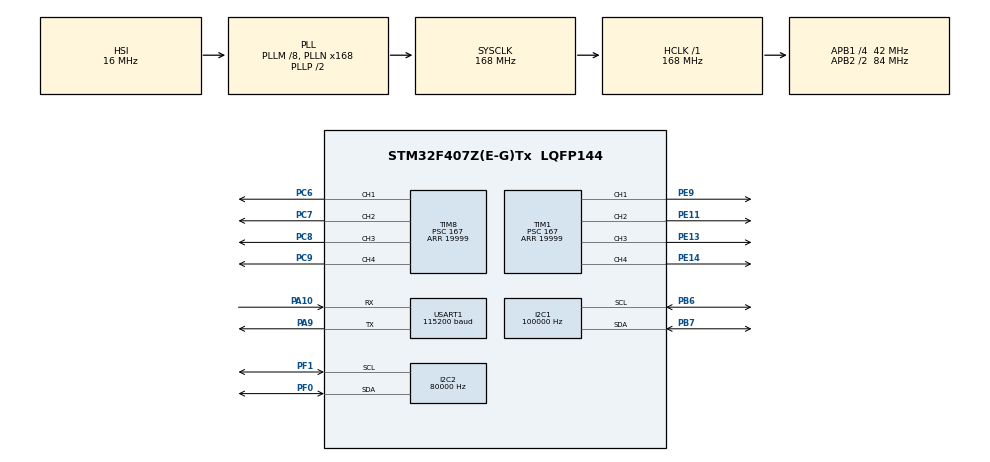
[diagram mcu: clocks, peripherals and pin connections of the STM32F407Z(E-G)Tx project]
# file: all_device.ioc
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Dma.I2C1_RX.2.Direction=DMA_PERIPH_TO_MEMORY
Dma.I2C1_RX.2.FIFOMode=DMA_FIFOMODE_DISABLE
Dma.I2C1_RX.2.Instance=DMA1_Stream0
Dma.I2C1_RX.2.MemDataAlignment=DMA_MDATAALIGN_BYTE
Dma.I2C1_RX.2.MemInc=DMA_MINC_ENABLE
Dma.I2C1_RX.2.Mode=DMA_NORMAL
Dma.I2C1_RX.2.PeriphDataAlignment=DMA_PDATAALIGN_BYTE
Dma.I2C1_RX.2.PeriphInc=DMA_PINC_DISABLE
Dma.I2C1_RX.2.Priority=DMA_PRIORITY_LOW
Dma.I2C1_TX.3.Direction=DMA_MEMORY_TO_PERIPH
Dma.I2C1_TX.3.FIFOMode=DMA_FIFOMODE_DISABLE
Dma.I2C1_TX.3.Instance=DMA1_Stream6
Dma.I2C1_TX.3.MemDataAlignment=DMA_MDATAALIGN_BYTE
Dma.I2C1_TX.3.MemInc=DMA_MINC_ENABLE
Dma.I2C1_TX.3.Mode=DMA_NORMAL
Dma.I2C1_TX.3.PeriphDataAlignment=DMA_PDATAALIGN_BYTE
Dma.I2C1_TX.3.PeriphInc=DMA_PINC_DISABLE
Dma.I2C1_TX.3.Priority=DMA_PRIORITY_LOW
Dma.I2C2_RX.4.Direction=DMA_PERIPH_TO_MEMORY
Dma.I2C2_RX.4.FIFOMode=DMA_FIFOMODE_DISABLE
Dma.I2C2_RX.4.Instance=DMA1_Stream2
Dma.I2C2_RX.4.MemDataAlignment=DMA_MDATAALIGN_BYTE
Dma.I2C2_RX.4.MemInc=DMA_MINC_ENABLE
Dma.I2C2_RX.4.Mode=DMA_NORMAL
Dma.I2C2_RX.4.PeriphDataAlignment=DMA_PDATAALIGN_BYTE
Dma.I2C2_RX.4.PeriphInc=DMA_PINC_DISABLE
Dma.I2C2_RX.4.Priority=DMA_PRIORITY_LOW
Dma.I2C2_TX.5.Direction=DMA_MEMORY_TO_PERIPH
Dma.I2C2_TX.5.FIFOMode=DMA_FIFOMODE_DISABLE
Dma.I2C2_TX.5.Instance=DMA1_Stream7
Dma.I2C2_TX.5.MemDataAlignment=DMA_MDATAALIGN_BYTE
Dma.I2C2_TX.5.MemInc=DMA_MINC_ENABLE
Dma.I2C2_TX.5.Mode=DMA_NORMAL
Dma.I2C2_TX.5.PeriphDataAlignment=DMA_PDATAALIGN_BYTE
Dma.I2C2_TX.5.PeriphInc=DMA_PINC_DISABLE
Dma.I2C2_TX.5.Priority=DMA_PRIORITY_LOW
Dma.Request0=USART1_RX
Dma.Request1=USART1_TX
Dma.Request2=I2C1_RX
Dma.Request3=I2C1_TX
Dma.Request4=I2C2_RX
Dma.Request5=I2C2_TX
Dma.USART1_RX.0.Direction=DMA_PERIPH_TO_MEMORY
Dma.USART1_RX.0.FIFOMode=DMA_FIFOMODE_DISABLE
Dma.USART1_RX.0.Instance=DMA2_Stream2
Dma.USART1_RX.0.MemDataAlignment=DMA_MDATAALIGN_BYTE
Dma.USART1_RX.0.MemInc=DMA_MINC_ENABLE
Dma.USART1_RX.0.Mode=DMA_NORMAL
Dma.USART1_RX.0.PeriphDataAlignment=DMA_PDATAALIGN_BYTE
Dma.USART1_RX.0.PeriphInc=DMA_PINC_DISABLE
Dma.USART1_RX.0.Priority=DMA_PRIORITY_LOW
Dma.USART1_TX.1.Direction=DMA_MEMORY_TO_PERIPH
Dma.USART1_TX.1.FIFOMode=DMA_FIFOMODE_DISABLE
Dma.USART1_TX.1.Instance=DMA2_Stream7
Dma.USART1_TX.1.MemDataAlignment=DMA_MDATAALIGN_BYTE
Dma.USART1_TX.1.MemInc=DMA_MINC_ENABLE
Dma.USART1_TX.1.Mode=DMA_NORMAL
Dma.USART1_TX.1.PeriphDataAlignment=DMA_PDATAALIGN_BYTE
Dma.USART1_TX.1.PeriphInc=DMA_PINC_DISABLE
Dma.USART1_TX.1.Priority=DMA_PRIORITY_LOW
I2C1.ClockSpeed=100000
I2C2.ClockSpeed=80000
Mcu.Family=STM32F4
Mcu.Name=STM32F407Z(E-G)Tx
Mcu.Package=LQFP144
NVIC.DMA1_Stream0_IRQn=true\:5\:0\:true\:false\:true\:false\:true\:true
NVIC.DMA1_Stream2_IRQn=true\:4\:0\:true\:false\:true\:false\:true\:true
NVIC.DMA1_Stream6_IRQn=true\:5\:0\:true\:false\:true\:false\:true\:true
NVIC.DMA1_Stream7_IRQn=true\:4\:0\:true\:false\:true\:false\:true\:true
NVIC.DMA2_Stream2_IRQn=true\:6\:0\:true\:false\:true\:false\:true\:true
NVIC.DMA2_Stream7_IRQn=true\:6\:0\:true\:false\:true\:false\:true\:true
NVIC.I2C1_ER_IRQn=true\:5\:0\:true\:false\:true\:true\:true\:true
NVIC.I2C1_EV_IRQn=true\:5\:0\:true\:false\:true\:true\:true\:true
NVIC.I2C2_ER_IRQn=true\:4\:0\:true\:false\:true\:true\:true\:true
NVIC.I2C2_EV_IRQn=true\:4\:0\:true\:false\:true\:true\:true\:true
NVIC.PriorityGroup=NVIC_PRIORITYGROUP_4
NVIC.USART1_IRQn=true\:6\:0\:true\:false\:true\:true\:true\:true
PA10.Mode=Asynchronous
PA10.Signal=USART1_RX
PA13.Mode=Serial_Wire
PA13.Signal=SYS_JTMS-SWDIO
PA14.Mode=Serial_Wire
PA14.Signal=SYS_JTCK-SWCLK
PA9.Mode=Asynchronous
PA9.Signal=USART1_TX
PB6.Mode=I2C
PB6.Signal=I2C1_SCL
PB7.Mode=I2C
PB7.Signal=I2C1_SDA
PC6.Signal=S_TIM8_CH1
PC7.Signal=S_TIM8_CH2
PC8.Signal=S_TIM8_CH3
PC9.Signal=S_TIM8_CH4
PE11.Signal=S_TIM1_CH2
PE13.Signal=S_TIM1_CH3
PE14.Signal=S_TIM1_CH4
PE9.Signal=S_TIM1_CH1
PF0.Mode=I2C
PF0.Signal=I2C2_SDA
PF1.Mode=I2C
PF1.Signal=I2C2_SCL
PH0-OSC_IN.Mode=HSE-External-Oscillator
PH0-OSC_IN.Signal=RCC_OSC_IN
PH1-OSC_OUT.Mode=HSE-External-Oscillator
PH1-OSC_OUT.Signal=RCC_OSC_OUT
ProjectManager.HeapSize=0x200
ProjectManager.StackSize=0x400
ProjectManager.TargetToolchain=CMake
RCC.48MHZClocksFreq_Value=84000000
RCC.AHBFreq_Value=168000000
RCC.APB1CLKDivider=RCC_HCLK_DIV4
RCC.APB1Freq_Value=42000000
RCC.APB1TimFreq_Value=84000000
RCC.APB2CLKDivider=RCC_HCLK_DIV2
RCC.APB2Freq_Value=84000000
RCC.APB2TimFreq_Value=168000000
RCC.CortexFreq_Value=168000000
RCC.HCLKFreq_Value=168000000
RCC.HSE_VALUE=25000000
RCC.HSI_VALUE=16000000
RCC.LSE_VALUE=32768
RCC.PLLM=8
RCC.PLLN=168
RCC.PLLSourceVirtual=RCC_PLLSOURCE_HSI
RCC.SYSCLKFreq_VALUE=168000000
RCC.SYSCLKSource=RCC_SYSCLKSOURCE_PLLCLK
RCC.VCOOutputFreq_Value=336000000
SH.S_TIM1_CH1.0=TIM1_CH1,PWM Generation1 CH1
SH.S_TIM1_CH2.0=TIM1_CH2,PWM Generation2 CH2
SH.S_TIM1_CH3.0=TIM1_CH3,PWM Generation3 CH3
SH.S_TIM1_CH4.0=TIM1_CH4,PWM Generation4 CH4
SH.S_TIM8_CH1.0=TIM8_CH1,PWM Generation1 CH1
SH.S_TIM8_CH2.0=TIM8_CH2,PWM Generation2 CH2
SH.S_TIM8_CH3.0=TIM8_CH3,PWM Generation3 CH3
SH.S_TIM8_CH4.0=TIM8_CH4,PWM Generation4 CH4
TIM1.Channel-PWM\ Generation1\ CH1=TIM_CHANNEL_1
TIM1.Channel-PWM\ Generation2\ CH2=TIM_CHANNEL_2
TIM1.Channel-PWM\ Generation3\ CH3=TIM_CHANNEL_3
TIM1.Channel-PWM\ Generation4\ CH4=TIM_CHANNEL_4
TIM1.OCPolarity_2=TIM_OCPOLARITY_HIGH
TIM1.Period=19999
TIM1.Prescaler=167
TIM1.Pulse-PWM\ Generation1\ CH1=1500
TIM1.Pulse-PWM\ Generation2\ CH2=1500
TIM1.Pulse-PWM\ Generation3\ CH3=1500
TIM1.Pulse-PWM\ Generation4\ CH4=1500
TIM8.Channel-PWM\ Generation1\ CH1=TIM_CHANNEL_1
TIM8.Channel-PWM\ Generation2\ CH2=TIM_CHANNEL_2
TIM8.Channel-PWM\ Generation3\ CH3=TIM_CHANNEL_3
TIM8.Channel-PWM\ Generation4\ CH4=TIM_CHANNEL_4
TIM8.Period=19999
TIM8.Prescaler=167
TIM8.Pulse-PWM\ Generation1\ CH1=1500
TIM8.Pulse-PWM\ Generation2\ CH2=1500
TIM8.Pulse-PWM\ Generation3\ CH3=1500
TIM8.Pulse-PWM\ Generation4\ CH4=1500
USART1.BaudRate=115200
USART1.Mode=MODE_TX_RX
USART1.Parity=PARITY_NONE
USART1.StopBits=STOPBITS_1
USART1.VirtualMode=VM_ASYNC
USART1.WordLength=WORDLENGTH_8B
VP_TIM1_VS_ClockSourceINT.Mode=Internal
VP_TIM8_VS_ClockSourceINT.Mode=Internal
board=custom

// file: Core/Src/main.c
/* USER CODE BEGIN Header */
/**
  ******************************************************************************
  * @file           : main.c
  * @brief          : Main program body
  ******************************************************************************
  * @attention
  *
  * Copyright (c) 2026 STMicroelectronics.
  * All rights reserved.
  *
  * This software is licensed under terms that can be found in the LICENSE file
  * in the root directory of this software component.
  * If no LICENSE file comes with this software, it is provided AS-IS.
  *
  ******************************************************************************
  */
/* USER CODE END Header */
#include "main.h"
#include "dma.h"
#include "i2c.h"
#include "tim.h"
#include "usart.h"
#include "gpio.h"

/* USER CODE BEGIN Includes */
#include "device_app.h"
/* USER CODE END Includes */

void SystemClock_Config(void);

int main(void)
{

  /* MCU Configuration--------------------------------------------------------*/

  /* Reset of all peripherals, Initializes the Flash interface and the Systick. */
  HAL_Init();

  /* Configure the system clock */
  SystemClock_Config();

  /* Initialize all configured peripherals */
  MX_GPIO_Init();
  MX_DMA_Init();
  MX_TIM1_Init();
  MX_I2C1_Init();
  MX_I2C2_Init();
  MX_TIM8_Init();
  MX_USART1_UART_Init();
  /* USER CODE BEGIN 2 */
  /* [正常工作：原样保留] 以下启动序列来自line_ide_cmake，
   * 8路PWM启动、1470/1500设置、顺序及延时全部保持原样。 */

  // HAL_TIM_PWM_Start(&htim1, TIM_CHANNEL_1);   // 旧代码（保留，已注释）
  // HAL_TIM_PWM_Start(&htim1, TIM_CHANNEL_2);
  // HAL_TIM_PWM_Start(&htim1, TIM_CHANNEL_3);
  // HAL_TIM_PWM_Start(&htim1, TIM_CHANNEL_4);
  // HAL_TIM_PWM_Start(&htim8, TIM_CHANNEL_1);
  // HAL_TIM_PWM_Start(&htim8, TIM_CHANNEL_2);
  // HAL_TIM_PWM_Start(&htim8, TIM_CHANNEL_3);
  // HAL_TIM_PWM_Start(&htim8, TIM_CHANNEL_4);

  HAL_TIM_PWM_Start(&htim1, TIM_CHANNEL_1);
  HAL_TIM_PWM_Start(&htim1, TIM_CHANNEL_2);
  HAL_TIM_PWM_Start(&htim1, TIM_CHANNEL_3);
  HAL_TIM_PWM_Start(&htim1, TIM_CHANNEL_4);
  HAL_TIM_PWM_Start(&htim8, TIM_CHANNEL_1);
  HAL_TIM_PWM_Start(&htim8, TIM_CHANNEL_2);
  HAL_TIM_PWM_Start(&htim8, TIM_CHANNEL_3);
  HAL_TIM_PWM_Start(&htim8, TIM_CHANNEL_4);
  HAL_Delay(3000);
__HAL_TIM_SET_COMPARE(&htim1, TIM_CHANNEL_1, 1470);
 HAL_Delay(1000);
 __HAL_TIM_SET_COMPARE(&htim1, TIM_CHANNEL_1, 1500);
 HAL_Delay(1000);
 __HAL_TIM_SET_COMPARE(&htim1, TIM_CHANNEL_1, 1470);
 HAL_Delay(1000);
  __HAL_TIM_SET_COMPARE(&htim1, TIM_CHANNEL_2, 1470);
// // //  HAL_Delay(1000);
  __HAL_TIM_SET_COMPARE(&htim1, TIM_CHANNEL_3, 1470);
// // //  HAL_Delay(1000);
  __HAL_TIM_SET_COMPARE(&htim1, TIM_CHANNEL_4, 1470);
// // //  HAL_Delay(1000);
  __HAL_TIM_SET_COMPARE(&htim8, TIM_CHANNEL_1, 1470);
// // //  HAL_Delay(1000);
  __HAL_TIM_SET_COMPARE(&htim8, TIM_CHANNEL_2, 1470);
// // //  HAL_Delay(1000);
  __HAL_TIM_SET_COMPARE(&htim8, TIM_CHANNEL_3, 1470);
// //  HAL_Delay(1000);
  __HAL_TIM_SET_COMPARE(&htim8, TIM_CHANNEL_4, 1470);
  HAL_Delay(3000);
//  __HAL_TIM_SET_COMPARE(&htim1, TIM_CHANNEL_2, 1492);
//HAL_Delay(1000);
//for (uint16_t pwm = 1500; pwm <= 1600; pwm += 10)
//{
//  __HAL_TIM_SET_COMPARE(&htim8, TIM_CHANNEL_1, pwm);
//  HAL_Delay(500);
//}
//  __HAL_TIM_SET_COMPARE(&htim8, TIM_CHANNEL_1, 1470);
//  HAL_Delay(500);
////  __HAL_TIM_SET_COMPARE(&htim1, TIM_CHANNEL_1, 2000);
////    HAL_Delay(2000);
////    __HAL_TIM_SET_COMPARE(&htim1, TIM_CHANNEL_1, 1500);
////      HAL_Delay(2000);
////  __HAL_TIM_SET_COMPARE(&htim1, TIM_CHANNEL_1, 1500);
////  HAL_Delay(3000);
//  __HAL_TIM_SET_COMPARE(&htim1, TIM_CHANNEL_1, 1500);
//  HAL_Delay(2000);
//  GPIO_InitTypeDef GPIO_InitStruct = {0};
//
//  /* 先预置高电平，再切换为 GPIO 输出 */
//  HAL_GPIO_WritePin(GPIOE, GPIO_PIN_9, GPIO_PIN_SET);
//
//  GPIO_InitStruct.Pin = GPIO_PIN_9;
//  GPIO_InitStruct.Mode = GPIO_MODE_OUTPUT_PP;
//  GPIO_InitStruct.Pull = GPIO_NOPULL;
//  GPIO_InitStruct.Speed = GPIO_SPEED_FREQ_LOW;
//  HAL_GPIO_Init(GPIOE, &GPIO_InitStruct);

  //串口控制
  // const uint8_t hello[] = "hello\r\n";
  // HAL_UART_Transmit(&huart1, hello, sizeof(hello) - 1, 100);
  // HAL_UARTEx_ReceiveToIdle_DMA(&huart1, receivedata, sizeof(receivedata));
  // __HAL_DMA_DISABLE_IT(huart1.hdmarx, DMA_IT_HT);

  /* [正常工作] 电机启动完成后再启动两个传感器，主循环开始持续推进。 */
  DevicesApp_Init();
  /* USER CODE END 2 */

  /* Infinite loop */
  /* USER CODE BEGIN WHILE */
  while (1)
  {
    /* [正常工作：循环调度]
     * 1. 推进MS5837深度状态机；2. 推进JY61P姿态状态机；
     * 3. 每秒请求一次串口DMA输出，两路采样不会等待串口发送。
     * 具体正常转换和异常报错/恢复分区见device_app.c。
     * 原电机工程循环中的CH4测试值和HAL_Delay(2000)不加入调度，
     * PWM继续保持启动代码设置的值，等后续串口命令协议确定再控制。
     */
    DevicesApp_Process();
    /* USER CODE END WHILE */

  }
}

void SystemClock_Config(void)
{
  RCC_OscInitTypeDef RCC_OscInitStruct = {0};
  RCC_ClkInitTypeDef RCC_ClkInitStruct = {0};

  /** Configure the main internal regulator output voltage
  */
  __HAL_RCC_PWR_CLK_ENABLE();
  __HAL_PWR_VOLTAGESCALING_CONFIG(PWR_REGULATOR_VOLTAGE_SCALE1);

  /** Initializes the RCC Oscillators according to the specified parameters
  * in the RCC_OscInitTypeDef structure.
  */
  RCC_OscInitStruct.OscillatorType = RCC_OSCILLATORTYPE_HSI;
  RCC_OscInitStruct.HSIState = RCC_HSI_ON;
  RCC_OscInitStruct.HSICalibrationValue = RCC_HSICALIBRATION_DEFAULT;
  RCC_OscInitStruct.PLL.PLLState = RCC_PLL_ON;
  RCC_OscInitStruct.PLL.PLLSource = RCC_PLLSOURCE_HSI;
  RCC_OscInitStruct.PLL.PLLM = 8;
  RCC_OscInitStruct.PLL.PLLN = 168;
  RCC_OscInitStruct.PLL.PLLP = RCC_PLLP_DIV2;
  RCC_OscInitStruct.PLL.PLLQ = 4;
  if (HAL_RCC_OscConfig(&RCC_OscInitStruct) != HAL_OK)
  {
    Error_Handler();
  }

  /** Initializes the CPU, AHB and APB buses clocks
  */
  RCC_ClkInitStruct.ClockType = RCC_CLOCKTYPE_HCLK|RCC_CLOCKTYPE_SYSCLK
                              |RCC_CLOCKTYPE_PCLK1|RCC_CLOCKTYPE_PCLK2;
  RCC_ClkInitStruct.SYSCLKSource = RCC_SYSCLKSOURCE_PLLCLK;
  RCC_ClkInitStruct.AHBCLKDivider = RCC_SYSCLK_DIV1;
  RCC_ClkInitStruct.APB1CLKDivider = RCC_HCLK_DIV4;
  RCC_ClkInitStruct.APB2CLKDivider = RCC_HCLK_DIV2;

  if (HAL_RCC_ClockConfig(&RCC_ClkInitStruct, FLASH_LATENCY_5) != HAL_OK)
  {
    Error_Handler();
  }
}

void Error_Handler(void)
{
  __disable_irq();
  while (1)
  {
  }
}
